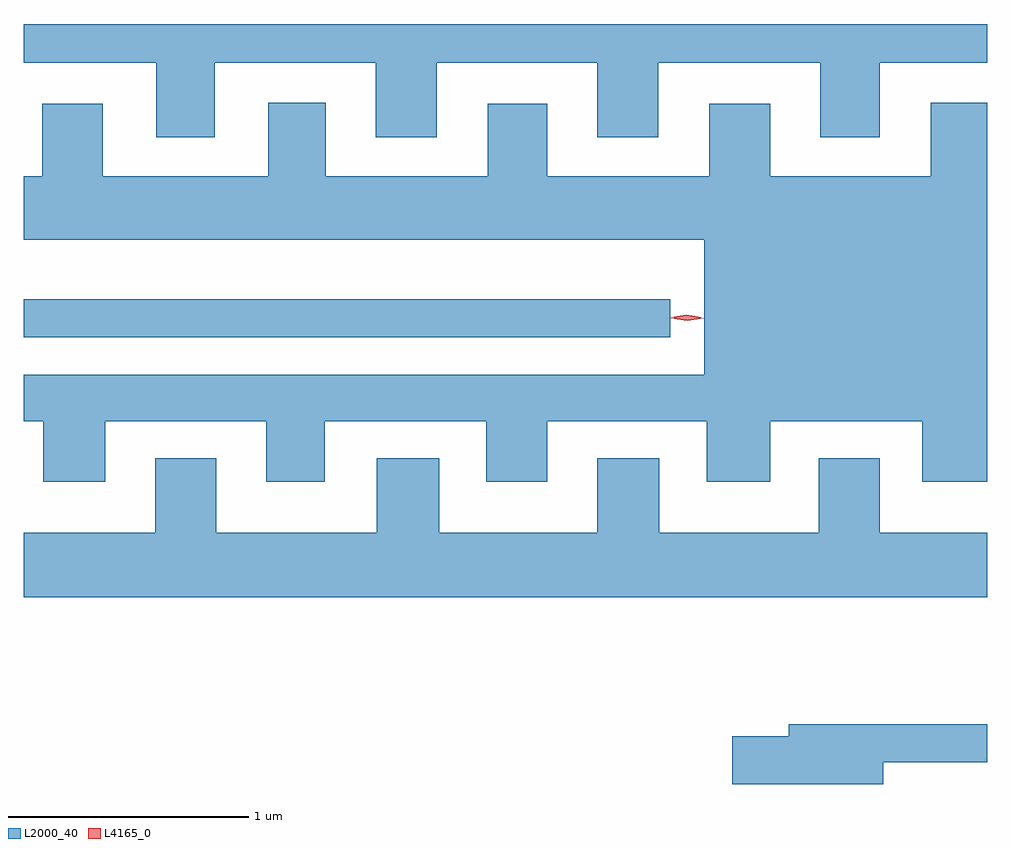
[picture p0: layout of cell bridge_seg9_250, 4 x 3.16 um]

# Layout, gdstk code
import gdstk
lib = gdstk.Library(unit=1e-6, precision=1e-09)
def R(c, l, rs):  # rectangles x0, y0, x1, y1
    for r in rs: c.add(gdstk.rectangle(r[:2], r[2:], *l))
def P(c, l, *ps):  # polygons
    for p in ps: c.add(gdstk.Polygon(p, *l))
L2000_40 = (2000, 40)
L4165_0 = (4165, 0)

bridge_seg9_250 = lib.new_cell('bridge_seg9_250')
R(bridge_seg9_250, L2000_40, [(1303.825,1970.696,1306.508,1970.854)])
P(bridge_seg9_250, L2000_40, [(1304.619,1971.836),(1305.286,1971.836),(1305.286,1971.526),(1305.539,1971.526),(1305.539,1971.836),(1306.206,1971.836),(1306.206,1971.526),(1306.459,1971.526),(1306.459,1971.836),(1307.131,1971.836),(1307.131,1971.526),(1307.379,1971.526),(1307.379,1971.836),(1307.825,1971.836),(1307.825,1971.996),(1303.825,1971.996),(1303.825,1971.836),(1304.376,1971.836),(1304.376,1971.526),(1304.619,1971.526)],
  [(1304.164,1970.346),(1304.831,1970.346),(1304.831,1970.096),(1305.074,1970.096),(1305.074,1970.346),(1305.746,1970.346),(1305.746,1970.096),(1305.999,1970.096),(1305.999,1970.346),(1306.661,1970.346),(1306.661,1970.096),(1306.924,1970.096),(1306.924,1970.346),(1307.556,1970.346),(1307.556,1970.096),(1307.825,1970.096),(1307.825,1971.669),(1307.591,1971.669),(1307.591,1971.364),(1306.924,1971.364),(1306.924,1971.664),(1306.671,1971.664),(1306.671,1971.364),(1305.999,1971.364),(1305.999,1971.664),(1305.751,1971.664),(1305.751,1971.364),(1305.079,1971.364),(1305.079,1971.669),(1304.841,1971.669),(1304.841,1971.364),(1304.154,1971.364),(1304.154,1971.664),(1303.901,1971.664),(1303.901,1971.364),(1303.825,1971.364),(1303.825,1971.101),(1306.651,1971.101),(1306.651,1970.539),(1303.825,1970.539),(1303.825,1970.346),(1303.906,1970.346),(1303.906,1970.096),(1304.164,1970.096)],
  [(1307.825,1969.884),(1307.379,1969.884),(1307.379,1970.194),(1307.126,1970.194),(1307.126,1969.884),(1306.464,1969.884),(1306.464,1970.194),(1306.206,1970.194),(1306.206,1969.884),(1305.549,1969.884),(1305.549,1970.194),(1305.291,1970.194),(1305.291,1969.884),(1304.624,1969.884),(1304.624,1970.194),(1304.371,1970.194),(1304.371,1969.884),(1303.825,1969.884),(1303.825,1969.616),(1307.825,1969.616)],
  [(1307.394,1968.931),(1307.825,1968.931),(1307.825,1969.089),(1307.001,1969.089),(1307.001,1969.039),(1306.766,1969.039),(1306.766,1968.841),(1307.394,1968.841)])
P(bridge_seg9_250, L4165_0, [(1306.579,1970.764),(1306.51,1970.774),(1306.51,1970.774),(1306.51,1970.775),(1306.579,1970.784),(1306.647,1970.775),(1306.648,1970.774),(1306.647,1970.774)],
  [(1306.575,1970.768),(1306.513,1970.778),(1306.513,1970.778),(1306.513,1970.779),(1306.575,1970.788),(1306.638,1970.779),(1306.638,1970.779),(1306.638,1970.778)])

lib.write_gds('bridge_seg9_250.gds')
